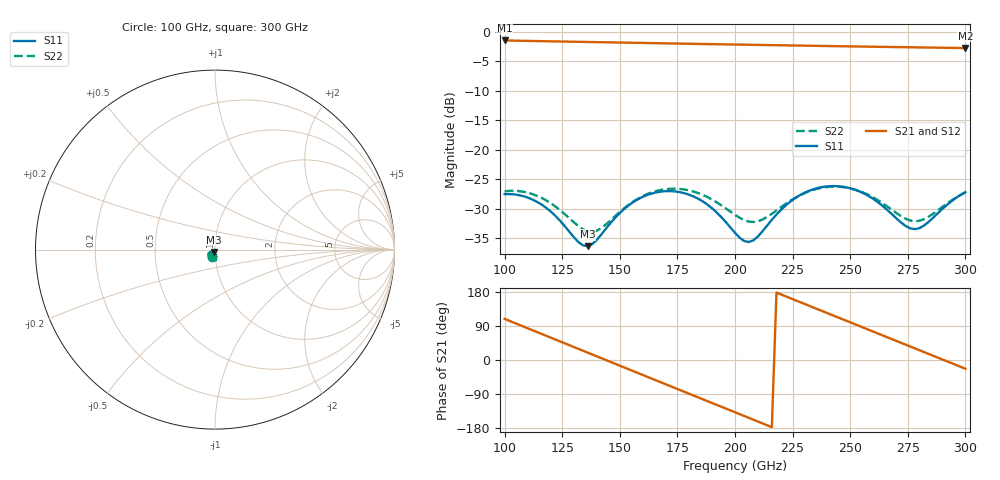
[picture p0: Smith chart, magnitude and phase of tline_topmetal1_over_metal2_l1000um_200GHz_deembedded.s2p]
! Created with skrf 2.2.0 (http://scikit-rf.org).
# GHz S DB R 50.0
! Port[1] = P1
! Port[2] = P2
!freq dBS11 angS11 dBS21 angS21 dBS12 angS12 dBS22 angS22
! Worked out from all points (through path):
!   101 points, 100 GHz to 300 GHz, reference 50 ohm
!   highest |S21| = -1.50 dB at 100 GHz (marker M1); lowest = -2.8 dB at 300 GHz (marker M2)
!   group delay of S21, straight-line fit = 6.83 ps
!   lowest |S11| = -36.3 dB at 136 GHz (marker M3), VSWR 1.03, Z = 49.2 - j1.3 ohm
!   |S11| at or under -10 dB: start of sweep to end of sweep
!   |S22| runs from -33.9 to -26.2 dB; largest |S21 - S12| = 9.6e-14
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100  -27.52 -114.0  -1.50 108.5  -1.50 108.5  -27.04 -112.3
108  -27.84 -129.3  -1.56 88.7  -1.56 88.7  -27.10 -126.6
116  -29.26 -142.3  -1.62 69.0  -1.62 69.0  -28.14 -138.8
126  -32.88 -148.6  -1.69 44.3  -1.69 44.3  -30.86 -146.0
134  -36.18 -129.3  -1.74 24.5  -1.74 24.5  -33.47 -135.8
136  -36.32 -120.1  -1.76 19.6  -1.76 19.6  -33.81 -130.1
144  -33.35 -96.0  -1.81 -0.1  -1.81 -0.1  -32.64 -108.5
152  -29.99 -96.8  -1.86 -19.9  -1.86 -19.9  -29.87 -103.8
168  -27.07 -119.9  -1.97 -59.3  -1.97 -59.3  -26.79 -120.5
176  -27.17 -133.3  -2.03 -79.0  -2.03 -79.0  -26.63 -131.8
184  -28.28 -145.3  -2.08 -98.6  -2.08 -98.6  -27.33 -141.9
200  -34.06 -146.5  -2.19 -137.9  -2.19 -137.9  -31.02 -145.7
206  -35.62 -123.8  -2.22 -152.7  -2.22 -152.7  -32.16 -134.9
216  -31.86 -96.6  -2.29 -177.2  -2.29 -177.2  -30.84 -115.2
224  -28.78 -99.2  -2.34 163.1  -2.34 163.1  -28.64 -112.9
234  -26.68 -112.0  -2.40 138.6  -2.40 138.6  -26.79 -121.1
244  -26.15 -127.4  -2.47 114.1  -2.47 114.1  -26.24 -133.3
252  -26.75 -139.0  -2.51 94.5  -2.51 94.5  -26.73 -143.0
268  -30.86 -148.6  -2.61 55.3  -2.61 55.3  -30.14 -150.2
280  -33.28 -118.9  -2.67 25.9  -2.67 25.9  -32.02 -127.5
290  -30.02 -101.6  -2.73 1.5  -2.73 1.5  -29.68 -112.5
300  -27.18 -106.5  -2.79 -23.0  -2.79 -23.0  -27.24 -115.5
